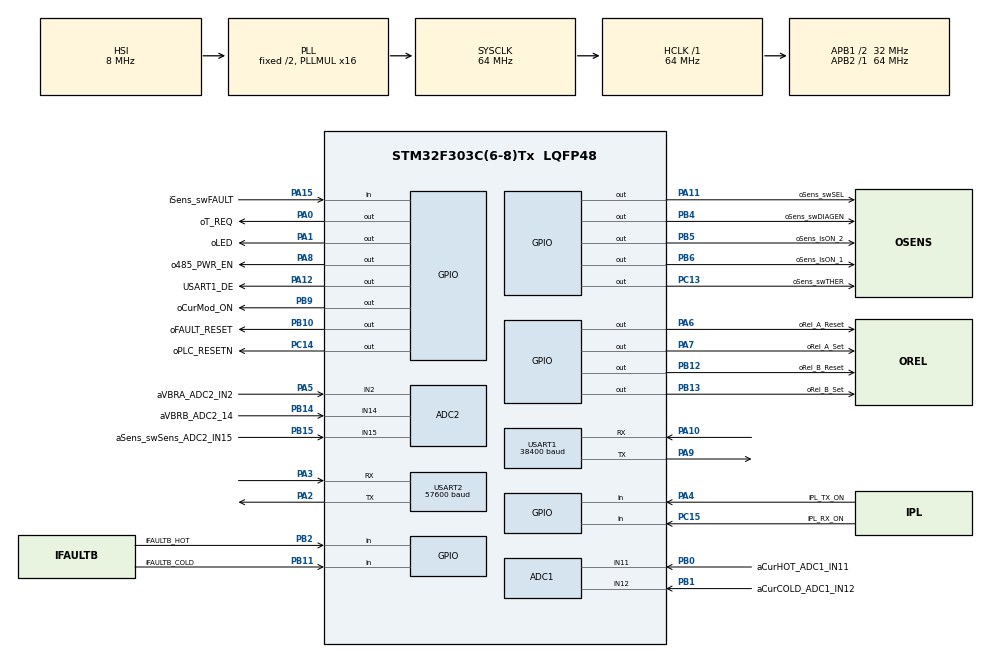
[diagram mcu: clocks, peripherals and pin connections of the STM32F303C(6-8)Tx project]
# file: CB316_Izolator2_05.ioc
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ADC1.Channel-1\#ChannelRegularConversion=ADC_CHANNEL_11
ADC1.Channel-2\#ChannelRegularConversion=ADC_CHANNEL_12
ADC1.ContinuousConvMode=ENABLE
ADC1.DMAContinuousRequests=ENABLE
ADC1.EOCSelection=ADC_EOC_SEQ_CONV
ADC1.NbrOfConversion=2
ADC1.NbrOfConversionFlag=1
ADC1.Offset-1\#ChannelRegularConversion=0
ADC1.Offset-2\#ChannelRegularConversion=0
ADC1.OffsetNumber-1\#ChannelRegularConversion=ADC_OFFSET_NONE
ADC1.OffsetNumber-2\#ChannelRegularConversion=ADC_OFFSET_NONE
ADC1.Rank-1\#ChannelRegularConversion=1
ADC1.Rank-2\#ChannelRegularConversion=2
ADC1.SamplingTime-1\#ChannelRegularConversion=ADC_SAMPLETIME_19CYCLES_5
ADC1.SamplingTime-2\#ChannelRegularConversion=ADC_SAMPLETIME_19CYCLES_5
ADC1.SamplingTimeOPAMP-2\#ChannelRegularConversion=ADC_SAMPLETIME_1CYCLE_5
ADC1.master=1
ADC2.Channel-1\#ChannelRegularConversion=ADC_CHANNEL_2
ADC2.Channel-3\#ChannelRegularConversion=ADC_CHANNEL_14
ADC2.Channel-4\#ChannelRegularConversion=ADC_CHANNEL_15
ADC2.ClockPrescaler=ADC_CLOCK_ASYNC_DIV1
ADC2.ContinuousConvMode=ENABLE
ADC2.DMAContinuousRequests=ENABLE
ADC2.EOCSelection=ADC_EOC_SEQ_CONV
ADC2.EnableInjectedConversion=DISABLE
ADC2.NbrOfConversion=3
ADC2.NbrOfConversionFlag=1
ADC2.Offset-1\#ChannelRegularConversion=0
ADC2.Offset-3\#ChannelRegularConversion=0
ADC2.Offset-4\#ChannelRegularConversion=0
ADC2.OffsetNumber-1\#ChannelRegularConversion=ADC_OFFSET_NONE
ADC2.OffsetNumber-3\#ChannelRegularConversion=ADC_OFFSET_NONE
ADC2.OffsetNumber-4\#ChannelRegularConversion=ADC_OFFSET_NONE
ADC2.Rank-1\#ChannelRegularConversion=1
ADC2.Rank-3\#ChannelRegularConversion=2
ADC2.Rank-4\#ChannelRegularConversion=3
ADC2.SamplingTime-1\#ChannelRegularConversion=ADC_SAMPLETIME_19CYCLES_5
ADC2.SamplingTime-3\#ChannelRegularConversion=ADC_SAMPLETIME_19CYCLES_5
ADC2.SamplingTime-4\#ChannelRegularConversion=ADC_SAMPLETIME_19CYCLES_5
ADC2.SamplingTimeOPAMP-3\#ChannelRegularConversion=ADC_SAMPLETIME_1CYCLE_5
ADC2.SamplingTimeOPAMP-4\#ChannelRegularConversion=ADC_SAMPLETIME_1CYCLE_5
Dma.ADC1.1.Direction=DMA_PERIPH_TO_MEMORY
Dma.ADC1.1.Instance=DMA1_Channel1
Dma.ADC1.1.MemDataAlignment=DMA_MDATAALIGN_HALFWORD
Dma.ADC1.1.MemInc=DMA_MINC_ENABLE
Dma.ADC1.1.Mode=DMA_CIRCULAR
Dma.ADC1.1.PeriphDataAlignment=DMA_PDATAALIGN_HALFWORD
Dma.ADC1.1.PeriphInc=DMA_PINC_DISABLE
Dma.ADC1.1.Priority=DMA_PRIORITY_LOW
Dma.ADC2.0.Direction=DMA_PERIPH_TO_MEMORY
Dma.ADC2.0.Instance=DMA1_Channel2
Dma.ADC2.0.MemDataAlignment=DMA_MDATAALIGN_HALFWORD
Dma.ADC2.0.MemInc=DMA_MINC_ENABLE
Dma.ADC2.0.Mode=DMA_CIRCULAR
Dma.ADC2.0.PeriphDataAlignment=DMA_PDATAALIGN_HALFWORD
Dma.ADC2.0.PeriphInc=DMA_PINC_DISABLE
Dma.ADC2.0.Priority=DMA_PRIORITY_LOW
Dma.Request0=ADC2
Dma.Request1=ADC1
Mcu.Family=STM32F3
Mcu.Name=STM32F303C(6-8)Tx
Mcu.Package=LQFP48
NVIC.ADC1_2_IRQn=true\:0\:0\:false\:false\:true\:true\:true\:true
NVIC.DMA1_Channel1_IRQn=true\:0\:0\:false\:false\:true\:false\:true\:true
NVIC.DMA1_Channel2_IRQn=true\:0\:0\:false\:false\:true\:false\:true\:true
NVIC.PriorityGroup=NVIC_PRIORITYGROUP_4
NVIC.USART1_IRQn=true\:1\:0\:true\:false\:true\:true\:true\:true
NVIC.USART2_IRQn=true\:1\:0\:true\:false\:true\:true\:true\:true
PA0.GPIO_Label=oT_REQ
PA0.PinState=GPIO_PIN_SET
PA0.Signal=GPIO_Output
PA1.GPIO_Label=oLED
PA1.Signal=GPIO_Output
PA10.Mode=Asynchronous
PA10.Signal=USART1_RX
PA11.GPIO_Label=oSens_swSEL
PA11.Signal=GPIO_Output
PA12.GPIO_Label=USART1_DE
PA12.Signal=GPIO_Output
PA13.Mode=Trace_Asynchronous_SW
PA13.Signal=SYS_JTMS-SWDIO
PA14.Mode=Trace_Asynchronous_SW
PA14.Signal=SYS_JTCK-SWCLK
PA15.GPIO_Label=iSens_swFAULT
PA15.Signal=GPIO_Input
PA2.Mode=Asynchronous
PA2.Signal=USART2_TX
PA3.Mode=Asynchronous
PA3.Signal=USART2_RX
PA4.GPIO_Label=iPL_TX_ON
PA4.Signal=GPIO_Input
PA5.GPIO_Label=aVBRA_ADC2_IN2
PA5.Mode=IN2-Single-Ended
PA5.Signal=ADC2_IN2
PA6.GPIO_Label=oRel_A_Reset
PA6.Signal=GPIO_Output
PA7.GPIO_Label=oRel_A_Set
PA7.Signal=GPIO_Output
PA8.GPIO_Label=o485_PWR_EN
PA8.Signal=GPIO_Output
PA9.Mode=Asynchronous
PA9.Signal=USART1_TX
PB0.GPIO_Label=aCurHOT_ADC1_IN11
PB0.Mode=IN11-Single-Ended
PB0.Signal=ADC1_IN11
PB1.GPIO_Label=aCurCOLD_ADC1_IN12
PB1.Mode=IN12-Single-Ended
PB1.Signal=ADC1_IN12
PB10.GPIO_Label=oFAULT_RESET
PB10.Signal=GPIO_Output
PB11.GPIO_Label=iFAULTB_COLD
PB11.Signal=GPIO_Input
PB12.GPIO_Label=oRel_B_Reset
PB12.Signal=GPIO_Output
PB13.GPIO_Label=oRel_B_Set
PB13.Signal=GPIO_Output
PB14.GPIO_Label=aVBRB_ADC2_14
PB14.Mode=IN14-Single-Ended
PB14.Signal=ADC2_IN14
PB15.GPIO_Label=aSens_swSens_ADC2_IN15
PB15.Mode=IN15-Single-Ended
PB15.Signal=ADC2_IN15
PB2.GPIO_Label=iFAULTB_HOT
PB2.Signal=GPIO_Input
PB3.Mode=Trace_Asynchronous_SW
PB3.Signal=SYS_JTDO-TRACESWO
PB4.GPIO_Label=oSens_swDIAGEN
PB4.Signal=GPIO_Output
PB5.GPIO_Label=oSens_IsON_2
PB5.Signal=GPIO_Output
PB6.GPIO_Label=oSens_IsON_1
PB6.Signal=GPIO_Output
PB9.GPIO_Label=oCurMod_ON
PB9.Signal=GPIO_Output
PC13.GPIO_Label=oSens_swTHER
PC13.Signal=GPIO_Output
PC14\ /\ OSC32_IN.GPIO_Label=oPLC_RESETN
PC14\ /\ OSC32_IN.PinState=GPIO_PIN_SET
PC14\ /\ OSC32_IN.Signal=GPIO_Output
PC15\ /\ OSC32_OUT.GPIO_Label=iPL_RX_ON
PC15\ /\ OSC32_OUT.Signal=GPIO_Input
PF0\ /\ OSC_IN.Mode=HSE-External-Oscillator
PF0\ /\ OSC_IN.Signal=RCC_OSC_IN
PF1\ /\ OSC_OUT.Mode=HSE-External-Oscillator
PF1\ /\ OSC_OUT.Signal=RCC_OSC_OUT
ProjectManager.HeapSize=0x200
ProjectManager.StackSize=0x400
ProjectManager.TargetToolchain=STM32CubeIDE
RCC.ADC12PRES=RCC_ADC12PLLCLK_DIV32
RCC.AHBFreq_Value=64000000
RCC.APB1CLKDivider=RCC_HCLK_DIV2
RCC.APB1Freq_Value=32000000
RCC.APB1TimFreq_Value=64000000
RCC.APB2Freq_Value=64000000
RCC.APB2TimFreq_Value=64000000
RCC.CortexFreq_Value=64000000
RCC.HCLKFreq_Value=64000000
RCC.HSE_VALUE=8000000
RCC.HSI_VALUE=8000000
RCC.LSE_VALUE=32768
RCC.PLLMUL=RCC_PLL_MUL16
RCC.SYSCLKFreq_VALUE=64000000
RCC.SYSCLKSourceVirtual=RCC_SYSCLKSOURCE_PLLCLK
USART1.BaudRate=38400
USART1.DMADisableonRxErrorParam=ADVFEATURE_DMA_DISABLEONRXERROR
USART1.OverrunDisableParam=ADVFEATURE_OVERRUN_DISABLE
USART1.VirtualMode-Asynchronous=VM_ASYNC
USART2.BaudRate=57600
USART2.DMADisableonRxErrorParam=ADVFEATURE_DMA_DISABLEONRXERROR
USART2.OverrunDisableParam=ADVFEATURE_OVERRUN_DISABLE
USART2.VirtualMode-Asynchronous=VM_ASYNC
VP_TIM1_VS_ClockSourceINT.Mode=Internal
board=custom

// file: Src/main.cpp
/* USER CODE BEGIN Header */
/**
  ******************************************************************************
  * @file           : main.c
  * @brief          : Main program body
  ******************************************************************************
  * @attention
  *
  * <h2><center>&copy; Copyright (c) 2020 STMicroelectronics.
  * All rights reserved.</center></h2>
  *
  * This software component is licensed by ST under BSD 3-Clause license,
  * the "License"; You may not use this file except in compliance with the
  * License. You may obtain a copy of the License at:
  *                        opensource.org/licenses/BSD-3-Clause
  *
  ******************************************************************************
  */

#define _M_ID     0x21070A01

   // +++ ADRES +++++

#define _MODULE_ADDR    0x00
#define _MODULE_0
#define _LOOP_NR	0x01

//#define _MODULE_204
//#define _MODULE_1
//#define _MODULE_3
//#define _MODULE_255
   // +++ do wersji testowej nie potrzebny modem
//#define _MODEM_OFF
  // wersja na stara plytke
#define _VER_V0_5
//#define _VER_V0_1
  // +++ wersja z USART PC - nie odbiera wlasnych bajtow
//#define _USART_PC

//#define _SLAWEK_

/* USER CODE END Header */
#include "main.h"
#include "adc.h"
#include "dma.h"
#include "tim.h"
#include "usart.h"
#include "gpio.h"

/* USER CODE BEGIN Includes */
//#include <cstdint>

uint8_t gDbgTab[128];
uint8_t gDbgTab2[128];
uint8_t gDbgIndex = 0;
bool qriz = 0;

//        gDbgTab[ gDbgIndex ] = mRXBuf[0];
//        gDbgTab2[ gDbgIndex ] = _o485E_EN;
//        gDbgIndex = (gDbgIndex + 1) % 128;

//#include <intrinsics.h>
//#include <arm_itm.h>
#include "../Mods/Struct/MBufCircular.h"

#include "../Mods/GPIO/MGPIO.h"         	// GPIO
#include "../Mods/RS485_E/M485_E.h"     	// 485
#include "../Mods/ADC/MADC.h"           	// ADC
#include "../Mods/ST7580/MST7580.h"     	// Modem
#include "../Mods/Relays/MRelays.h"     	// Relays init onTimer
#include "../Mods/System/MSystem.h"     	// PwrSup_Source;
#include "../Mods/Network/MNetwork.h"   	// M0 M1 itp - timeouty
#include "../Mods/Flash_SSD/MFlash_SSD.h"	// Flash do zapisu adresu

//#include "../Mods/ST7580/st7580_appli.h"
/* USER CODE END Includes */

/* USER CODE BEGIN PTD */
//void NucleoST7580RxInt(UART_HandleTypeDef* UartHandle){}
//void NucleoST7580TxInt(UART_HandleTypeDef* UartHandle){}
/* USER CODE END PTD */

void SystemClock_Config(void);

/* USER CODE BEGIN 0 */

//----------------------------------------------------------------------------
void HAL_UART_TxCpltCallback( UART_HandleTypeDef *huart ){
  //__disable_irq();
  if( huart == g485E.mhUart   )  g485E.onIT_TX();
  if( huart == gST7580.mhUart )  gST7580.onIT_TX();
 // __enable_irq();
 }//----------------------------------------------------------------------------

//----------------------------------------------------------------------------
void HAL_UART_RxCpltCallback(UART_HandleTypeDef *huart ) {
 // __disable_irq();
  if( huart == g485E.mhUart   )  g485E.onIT_RX();
  if( huart == gST7580.mhUart )  gST7580.onIT_RX();
//  __enable_irq();
 }//----------------------------------------------------------------------------

//-----------------------------------------------------------------------------
void HAL_ADC_ConvCpltCallback(ADC_HandleTypeDef* hadc)
{
   /* int32_t sample =  HAL_ADC_GetValue(hadc);
    int32_t sample2 =  HAL_ADC_GetValue(hadc);
    ITM_EVENT16( 2, sample );
    ITM_EVENT16( 3, sample2 );
    gADC.onSample( sample );*/

    if( hadc == &hadc2 )       gADC.onSample_ADC2();
    else if( hadc == &hadc1 )  gADC.onSample_ADC1();

}//----------------------------------------------------------------------------

// *** IT - SYS ****************************************************************
//----------------------------------------------------------------------------
void HAL_SYSTICK_Callback(void){

    // --- System ----------
    gSystem.onTimer_1ms();

    // --- ADC -------------
    //  gADC.onTimer();     // uruchomienie przetwornika

    // --- RS485 -------------
  /* __disable_irq();

    if( gRSCnt >= 1 ){
      gRSCnt = 0;
      g485E.onTimer_Frame();
    }else gRSCnt += 1;

   __enable_irq();*/

   // g485E.onTimer();     // Frame.TimeOut WDT

   // --- ST7580 -----------

    // --- RELAYs -----------
  // ITM_EVENT16( 1, gADC.mUA_avr );
  // ITM_EVENT16( 1, avr );
   gRelays.onTimer_1ms(); // zwarcie + wylaczanie przekaznikow

 }//----------------------------------------------------------------------------

uint8_t gLEDCnt = 0;

/* USER CODE END 0 */

int main(void)
{

  /* MCU Configuration--------------------------------------------------------*/

  /* Reset of all peripherals, Initializes the Flash interface and the Systick. */
  HAL_Init();

  /* Configure the system clock */
  SystemClock_Config();

  /* USER CODE BEGIN SysInit */
    __disable_irq();
  //  SysTick_Config( SystemCoreClock / 100 );
  /* USER CODE END SysInit */

  /* Initialize all configured peripherals */
  MX_GPIO_Init();
  MX_DMA_Init();
  MX_USART1_UART_Init();
  MX_USART2_UART_Init();
  MX_ADC1_Init();
  MX_ADC2_Init();
  MX_TIM1_Init();
  /* USER CODE BEGIN 2 */

  // ... STARE USTAWIENIA !!! ......................
#ifdef _VER_V0_1
  {
    GPIO_InitTypeDef GPIO_InitStruct = {0};
      /*Configure GPIO pins : PBPin PBPin */
    GPIO_InitStruct.Pin = oCurMod_ON_Pin;
    GPIO_InitStruct.Mode = GPIO_MODE_INPUT;
    GPIO_InitStruct.Pull = GPIO_NOPULL;
    HAL_GPIO_Init(GPIOB, &GPIO_InitStruct);
  }
#endif

   // ... PINY INIT ...............................
   gST7580.pinTREQ( 1 ) ;
   gST7580.pinRESETN( 1 );
  _o485E_PwrEN = 0;
  _oTPS_SEL = 1;        // kanal 1 do analizy pradu
  _oTPS_DIAGEN = 1;     // enable diagnostics
  _oTPS_THER = 0;       // auto retry mode
  _oTPS_ON_2 = 1;
  _oTPS_ON_1 = 0;

  // ... MODULY INIT ..............................
  gRelays.init();
  gADC.init();
  g485E.init( &huart1 );

  gST7580.init( &huart2 );
  gSystem.init();

//#ifndef _MODULE_0
	  gFlash_SSD.init(31);	// 63 = page number
	  gFlash_SSD.initParams();
//#endif

  /*for( int i =0; i<128; i++ )
  	  {gDbgTab[i] = 0;}
  for( int i =0; i<128; i++ )
  	  {gDbgTab2[i] = 0;}*/ //NIE UZYWANE??? TYLKO DLA IAR
  //gDbgIndex = 0;

  /* USER CODE END 2 */

  /* Infinite loop */
  /* USER CODE BEGIN WHILE */
  __enable_irq();
// gST7580.enableTX_IRQ();
  //__HAL_UART_ENABLE_IT(&huart2,UART_IT_RXNE);	// !!!!
  //gST7580.init();

  gRelays.initProc();
  gST7580.initModem();
  gADC.initIRQ();

 // g485E.onTimer_Frame();
  while (1)
  {
	  // ... Timer_Main 1000ms ..........................
  if( gSystem.mTimer_Is1000ms ){
	  gSystem.mTimer_Is1000ms = false;

	  gST7580.onTimer_Main1000ms();

	  //DEBUG
//	  if(qriz)
//	  {
//	      //gRelays.setREL_A( true );
//	      gRelays.setREL_B( true );
//	  }
//	  else
//	  {
//	      //gRelays.setREL_A( false );
//		  gRelays.setREL_B( false );
//	  }
//	  qriz = !qriz;

  }

    // ... Timer_Main 100ms ..........................
    if( gSystem.mTimer_Is100ms ){
      gSystem.mTimer_Is100ms = false;

      gSystem.onTimer_Main100ms();      // PwrSupSource: if all Rels OFF ->
                                        // 1.5s -> UA?UB -> SupSource
      gST7580.onTimer_Main100ms();      // puste

      gMod1.onTimer_Main100ms();        // WDT+=1

      //g485E.sendTX_ID(0x00);
      g485E.onTimer_Main100ms();

      //gLEDCnt += 1;
      //if( gLEDCnt > 10 ){
    //	  _oLED = ~_oLED;
    //	  gLEDCnt = 0;
      //}

    }

    // ... Timer_Main 10ms ..........................
    if( gSystem.mTimer_Is10ms ){
      gSystem.mTimer_Is10ms = false;

      gRelays.onTimer_Main10ms();     // PwrSupSource
      gST7580.onTimer_Main10ms();     // Modem: czy ramka -> odbierz (1=wyslij)
      g485E.onTimer_Main10ms();       // WDT do TimeOut

    }

    // ..............................................

     // HAL_Delay(100);

    /* USER CODE END WHILE */

  }
}

void SystemClock_Config(void)
{
  RCC_OscInitTypeDef RCC_OscInitStruct = {0};
  RCC_ClkInitTypeDef RCC_ClkInitStruct = {0};
  RCC_PeriphCLKInitTypeDef PeriphClkInit = {0};

  /** Initializes the RCC Oscillators according to the specified parameters
  * in the RCC_OscInitTypeDef structure.
  */
  RCC_OscInitStruct.OscillatorType = RCC_OSCILLATORTYPE_HSI;
  RCC_OscInitStruct.HSIState = RCC_HSI_ON;
  RCC_OscInitStruct.HSICalibrationValue = RCC_HSICALIBRATION_DEFAULT;
  RCC_OscInitStruct.PLL.PLLState = RCC_PLL_ON;
  RCC_OscInitStruct.PLL.PLLSource = RCC_PLLSOURCE_HSI;
  RCC_OscInitStruct.PLL.PLLMUL = RCC_PLL_MUL16;
  if (HAL_RCC_OscConfig(&RCC_OscInitStruct) != HAL_OK)
  {
    Error_Handler();
  }
  /** Initializes the CPU, AHB and APB buses clocks
  */
  RCC_ClkInitStruct.ClockType = RCC_CLOCKTYPE_HCLK|RCC_CLOCKTYPE_SYSCLK
                              |RCC_CLOCKTYPE_PCLK1|RCC_CLOCKTYPE_PCLK2;
  RCC_ClkInitStruct.SYSCLKSource = RCC_SYSCLKSOURCE_PLLCLK;
  RCC_ClkInitStruct.AHBCLKDivider = RCC_SYSCLK_DIV1;
  RCC_ClkInitStruct.APB1CLKDivider = RCC_HCLK_DIV2;
  RCC_ClkInitStruct.APB2CLKDivider = RCC_HCLK_DIV1;

  if (HAL_RCC_ClockConfig(&RCC_ClkInitStruct, FLASH_LATENCY_2) != HAL_OK)
  {
    Error_Handler();
  }
  PeriphClkInit.PeriphClockSelection = RCC_PERIPHCLK_USART1|RCC_PERIPHCLK_TIM1
                              |RCC_PERIPHCLK_ADC12;
  PeriphClkInit.Usart1ClockSelection = RCC_USART1CLKSOURCE_PCLK1;
  PeriphClkInit.Adc12ClockSelection = RCC_ADC12PLLCLK_DIV32;
  PeriphClkInit.Tim1ClockSelection = RCC_TIM1CLK_HCLK;
  if (HAL_RCCEx_PeriphCLKConfig(&PeriphClkInit) != HAL_OK)
  {
    Error_Handler();
  }
}

/* USER CODE BEGIN 4 */

//#ifdef _MODULE_0
  #include "../Mods/RS485_E/M485_E_cpp.h"
  #include "../Mods/RS485_E/M485_E_cpp_RX.h"
  #include "../Mods/RS485_E/M485_E_cpp_TX.h"
/*#else
  #ifdef _MODULE_1
    #include "../Mods/RS485_E/M485_E_cpp_M1.h"
  #else // _MODULE_255
    #include "../Mods/RS485_E/M485_E_cpp.h"
    #include "../Mods/RS485_E/M485_E_cpp_RX.h"
  #endif
#endif*/

#include "../Mods/ST7580/MST7580_cpp.h"
#include "../Mods/ST7580/MST7580_cpp_TX.h"
#include "../Mods/ST7580/MST7580_cpp_RX.h"
#include "../Mods/ADC/MADC_cpp.h"
#include "../Mods/Relays/MRelays_cpp.h"
#include "../Mods/System/MSystem_cpp.h"
#include "../Mods/Flash_SSD/MFlash_SSD_cpp.h"

//#include "../Mods/ST7580/st7580_appli.c"
//#include "e:\XCh\OneDrive_AC\Projects\ZUT\pAudio\soft\ARM\CA9\Mods\ST7580\ST7580_Library\Src\ST7580_Serial.c"

//#include "C:\Programy\Project\pAudio\STM32CubeExpansion_PLM1_V1.1.0\Drivers\BSP\X-NUCLEO-PLM01A1\stm32_plm01a1.c"
//#include "e:\XCh\OneDrive_AC\Projects\ZUT\pAudio\soft\ARM\CA9\Mods\ST7580\drv\stm32_plm01a1.c"
/* USER CODE END 4 */

void Error_Handler(void)
{
}
